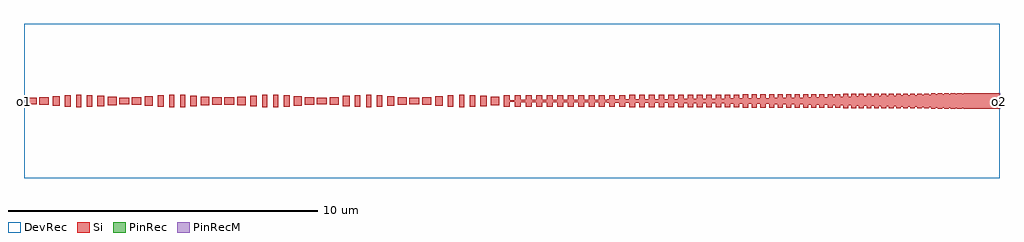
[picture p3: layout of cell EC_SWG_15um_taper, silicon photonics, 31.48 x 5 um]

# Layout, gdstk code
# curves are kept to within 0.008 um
import gdstk
lib = gdstk.Library(unit=1e-6, precision=1e-09)
def R(c, l, rs):  # rectangles x0, y0, x1, y1
    for r in rs: c.add(gdstk.rectangle(r[:2], r[2:], *l))
def P(c, l, *ps):  # polygons
    for p in ps: c.add(gdstk.Polygon(p, *l))
Si = (1, 0)
PinRec = (1, 10)
PinRecM = (1, 11)
DevRec = (68, 0)

nonlinear_taper_4 = lib.new_cell('Nonlinear_Taper$4')
P(nonlinear_taper_4, Si, [(15,-0.25),(12.121,-0.164),(8.636,-0.098),(5.303,-0.062),(0,-0.03),(0,0.03),(5.303,0.062),(8.636,0.098),(12.121,0.164),(15,0.25)])

rectangle_s1_0p5_lwg_cf_ = lib.new_cell('rectangle_S1_0p5_LWG_CF_2a77620c$4')
R(rectangle_s1_0p5_lwg_cf_, Si, [(0,0,1,0.5)])

ec_swg_15um_taper = lib.new_cell('EC_SWG_15um_taper')
R(ec_swg_15um_taper, Si, [(30.074,-0.249,30.209,0.249), (29.868,-0.248,30.005,0.248), (29.659,-0.246,29.797,0.246), (29.448,-0.245,29.587,0.245), (29.233,-0.244,29.374,0.244), (29.016,-0.242,29.159,0.242), (28.796,-0.241,28.94,0.241), (28.573,-0.24,28.719,0.24), (28.348,-0.238,28.495,0.238), (28.119,-0.237,28.267,0.237), (27.888,-0.236,28.038,0.236), (27.654,-0.234,27.805,0.234), (27.417,-0.233,27.569,0.233), (27.177,-0.232,27.33,0.232), (26.934,-0.23,27.089,0.23), (26.688,-0.229,26.844,0.229), (26.439,-0.228,26.597,0.228), (26.188,-0.226,26.347,0.226), (25.933,-0.225,26.094,0.225), (25.676,-0.223,25.837,0.223), (25.415,-0.222,25.578,0.222), (25.152,-0.221,25.316,0.221), (24.886,-0.219,25.051,0.219), (24.617,-0.218,24.783,0.218), (24.344,-0.217,24.512,0.217), (24.069,-0.215,24.239,0.215), (23.791,-0.214,23.962,0.214), (23.511,-0.213,23.682,0.213), (23.227,-0.211,23.4,0.211), (22.94,-0.21,23.114,0.21), (22.651,-0.208,22.826,0.208), (22.358,-0.207,22.535,0.207), (22.063,-0.206,22.24,0.206), (21.765,-0.204,21.943,0.204), (21.464,-0.203,21.643,0.203), (21.16,-0.202,21.341,0.202), (1.443,-0.2,1.604,0.2), (10.795,-0.2,10.956,0.2), (20.853,-0.2,21.035,0.2), (4.442,-0.199,4.605,0.199), (7.793,-0.199,7.956,0.199), (13.794,-0.199,13.956,0.199), (20.544,-0.199,20.727,0.199), (20.232,-0.198,20.416,0.198), (19.917,-0.197,20.102,0.197), (4.79,-0.195,4.958,0.195), (7.438,-0.195,7.606,0.195), (19.599,-0.195,19.785,0.195), (19.279,-0.194,19.466,0.194), (14.14,-0.193,14.312,0.193), (18.956,-0.193,19.144,0.193), (18.63,-0.192,18.819,0.192), (1.786,-0.191,1.962,0.191), (10.432,-0.19,10.608,0.19), (18.302,-0.19,18.491,0.19), (17.971,-0.189,18.161,0.189), (11.135,-0.188,11.316,0.188), (17.637,-0.188,17.829,0.188), (1.075,-0.187,1.257,0.187), (17.301,-0.187,17.494,0.187), (16.963,-0.186,17.156,0.186), (13.423,-0.184,13.61,0.184), (16.622,-0.184,16.816,0.184), (16.279,-0.183,16.474,0.183), (15.933,-0.182,16.129,0.182), (8.129,-0.181,8.322,0.181), (15.585,-0.181,15.781,0.181), (4.065,-0.18,4.259,0.18), (15.235,-0.18,15.432,0.18), (5.124,-0.173,5.33,0.173), (7.052,-0.171,7.26,0.171), (14.473,-0.168,14.686,0.168), (2.118,-0.164,2.339,0.164), (10.036,-0.162,10.261,0.162), (11.468,-0.159,11.697,0.159), (0.675,-0.157,0.909,0.157), (13.019,-0.152,13.261,0.152), (8.463,-0.149,8.709,0.149), (3.657,-0.147,3.908,0.147), (5.46,-0.14,5.723,0.14), (6.637,-0.137,6.906,0.137), (14.811,-0.135,15.083,0.135), (2.459,-0.131,2.739,0.131), (9.616,-0.128,9.901,0.128), (11.811,-0.127,12.099,0.127), (0.253,-0.124,0.547,0.124), (12.596,-0.121,12.895,0.121), (8.814,-0.12,9.115,0.12), (3.234,-0.117,3.539,0.117), (5.82,-0.115,6.131,0.115), (6.215,-0.113,6.53,0.113), (2.828,-0.111,3.146,0.111), (-0.16,-0.11,0.16,0.11), (9.199,-0.11,9.519,0.11), (12.186,-0.11,12.505,0.11)])
R(ec_swg_15um_taper, DevRec, [(-0.24,-2.5,31.235,2.5)])
ec_swg_15um_taper.add(gdstk.FlexPath([(-0.235,0),(-0.245,0)], 0.22, ends="flush", simple_path=True, layer=1, datatype=10))  # PinRec
ec_swg_15um_taper.add(gdstk.FlexPath([(31.23,0),(31.24,0)], 0.5, ends="flush", simple_path=True, layer=1, datatype=10))  # PinRec
ec_swg_15um_taper.add(gdstk.FlexPath([(-0.235,0),(-0.245,0)], 0.22, ends="flush", simple_path=True, layer=1, datatype=11))  # PinRecM
ec_swg_15um_taper.add(gdstk.FlexPath([(31.23,0),(31.24,0)], 0.5, ends="flush", simple_path=True, layer=1, datatype=11))  # PinRecM
ec_swg_15um_taper.add(gdstk.Reference(nonlinear_taper_4, (15.235,0)))
ec_swg_15um_taper.add(gdstk.Reference(rectangle_s1_0p5_lwg_cf_, (30.235,-0.25)))
ec_swg_15um_taper.add(gdstk.Label('o1', (-0.24,0), layer=1, texttype=10))
ec_swg_15um_taper.add(gdstk.Label('o2', (31.235,0), layer=1, texttype=10))
ec_swg_15um_taper.add(gdstk.Label('o1', (-0.24,0), layer=1, texttype=11))
ec_swg_15um_taper.add(gdstk.Label('o2', (31.235,0), layer=1, texttype=11))

lib.write_gds('EC_SWG_15um_taper.gds')
